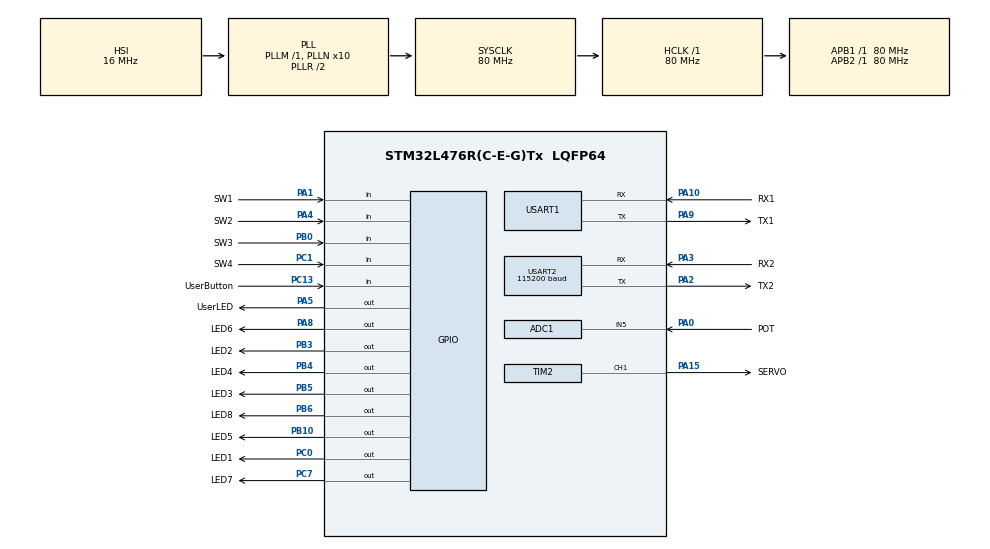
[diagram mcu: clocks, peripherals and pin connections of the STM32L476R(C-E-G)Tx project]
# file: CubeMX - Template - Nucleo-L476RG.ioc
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ADC1.Channel-0\#ChannelRegularConversion=ADC_CHANNEL_5
ADC1.NbrOfConversionFlag=1
ADC1.OffsetNumber-0\#ChannelRegularConversion=ADC_OFFSET_NONE
ADC1.Overrun=ADC_OVR_DATA_OVERWRITTEN
ADC1.Rank-0\#ChannelRegularConversion=1
ADC1.Resolution=ADC_RESOLUTION_12B
ADC1.SamplingTime-0\#ChannelRegularConversion=ADC_SAMPLETIME_2CYCLES_5
ADC1.master=1
FREERTOS.Events01=statemachineEvents,Dynamic,NULL
FREERTOS.Mutexes01=usart2TxMutex,Dynamic,NULL
FREERTOS.Queues01=adQueue,1,uint8_t,0,Dynamic,NULL,NULL;switchQueue,5,int8_t,0,Dynamic,NULL,NULL;mqttQueue,3,uint8_t,0,Dynamic,NULL,NULL
FREERTOS.Tasks01=watchdogTask,16,128,Watchdog,Default,NULL,Dynamic,NULL,NULL;esp32Task,24,1280,Esp32,Default,NULL,Dynamic,NULL,NULL;adConvTask,24,128,AdConversion,Default,NULL,Dynamic,NULL,NULL;stateMachineTas,24,1280,StateMachine,Default,NULL,Dynamic,NULL,NULL;switchesTask,24,128,Switches,Default,NULL,Dynamic,NULL,NULL
FREERTOS.Timers01=ledTimer,LedTimeOut,osTimerPeriodic,Default,NULL,Dynamic,NULL;gateMovingTimer,GateMovingTimeOut,osTimerOnce,Default,NULL,Dynamic,NULL
FREERTOS.configTOTAL_HEAP_SIZE=15000
IWDG.Prescaler=IWDG_PRESCALER_256
IWDG.Reload=999
Mcu.Family=STM32L4
Mcu.Name=STM32L476R(C-E-G)Tx
Mcu.Package=LQFP64
NVIC.PriorityGroup=NVIC_PRIORITYGROUP_4
NVIC.TIM6_DAC_IRQn=true\:15\:0\:false\:false\:true\:false\:false\:true\:true
NVIC.TimeBase=TIM6_DAC_IRQn
NVIC.TimeBaseIP=TIM6
NVIC.USART1_IRQn=true\:5\:0\:false\:false\:true\:true\:true\:true\:true
PA0.GPIO_Label=POT
PA0.Signal=ADCx_IN5
PA1.GPIO_Label=SW1
PA1.Signal=GPIO_Input
PA10.GPIO_Label=RX1
PA10.Mode=Asynchronous
PA10.Signal=USART1_RX
PA13\ (JTMS-SWDIO).GPIO_Label=TMS
PA13\ (JTMS-SWDIO).Mode=Serial_Wire
PA13\ (JTMS-SWDIO).Signal=SYS_JTMS-SWDIO
PA14\ (JTCK-SWCLK).GPIO_Label=TCK
PA14\ (JTCK-SWCLK).Mode=Serial_Wire
PA14\ (JTCK-SWCLK).Signal=SYS_JTCK-SWCLK
PA15\ (JTDI).GPIO_Label=SERVO
PA15\ (JTDI).Signal=S_TIM2_CH1
PA2.GPIO_Label=TX2
PA2.GPIO_Mode=GPIO_MODE_AF_PP
PA2.GPIO_PuPd=GPIO_NOPULL
PA2.GPIO_Speed=GPIO_SPEED_FREQ_VERY_HIGH
PA2.Mode=Asynchronous
PA2.Signal=USART2_TX
PA3.GPIO_Label=RX2
PA3.GPIO_Mode=GPIO_MODE_AF_PP
PA3.GPIO_PuPd=GPIO_NOPULL
PA3.GPIO_Speed=GPIO_SPEED_FREQ_VERY_HIGH
PA3.Mode=Asynchronous
PA3.Signal=USART2_RX
PA4.GPIO_Label=SW2
PA4.Signal=GPIO_Input
PA5.GPIO_Label=UserLED
PA5.GPIO_ModeDefaultOutputPP=GPIO_MODE_OUTPUT_PP
PA5.GPIO_PuPd=GPIO_NOPULL
PA5.GPIO_Speed=GPIO_SPEED_FREQ_LOW
PA5.Signal=GPIO_Output
PA8.GPIO_Label=LED6
PA8.Signal=GPIO_Output
PA9.GPIO_Label=TX1
PA9.Mode=Asynchronous
PA9.Signal=USART1_TX
PB0.GPIO_Label=SW3
PB0.Signal=GPIO_Input
PB10.GPIO_Label=LED5
PB10.Signal=GPIO_Output
PB3\ (JTDO-TRACESWO).GPIO_Label=LED2
PB3\ (JTDO-TRACESWO).Signal=GPIO_Output
PB4\ (NJTRST).GPIO_Label=LED4
PB4\ (NJTRST).Signal=GPIO_Output
PB5.GPIO_Label=LED3
PB5.Signal=GPIO_Output
PB6.GPIO_Label=LED8
PB6.Signal=GPIO_Output
PC0.GPIO_Label=LED1
PC0.Signal=GPIO_Output
PC1.GPIO_Label=SW4
PC1.Signal=GPIO_Input
PC13.GPIO_Label=UserButton
PC13.Signal=GPIO_Input
PC7.GPIO_Label=LED7
PC7.Signal=GPIO_Output
ProjectManager.HeapSize=0x200
ProjectManager.StackSize=0x400
ProjectManager.TargetToolchain=Makefile
RCC.ADCFreq_Value=64000000
RCC.AHBFreq_Value=80000000
RCC.APB1Freq_Value=80000000
RCC.APB1TimFreq_Value=80000000
RCC.APB2Freq_Value=80000000
RCC.APB2TimFreq_Value=80000000
RCC.CortexFreq_Value=80000000
RCC.HCLKFreq_Value=80000000
RCC.HSE_VALUE=8000000
RCC.HSI_VALUE=16000000
RCC.LSE_VALUE=32768
RCC.MSI_VALUE=4000000
RCC.PLLN=10
RCC.PLLSourceVirtual=RCC_PLLSOURCE_HSI
RCC.PREFETCH_ENABLE=1
RCC.SYSCLKFreq_VALUE=80000000
RCC.SYSCLKSource=RCC_SYSCLKSOURCE_PLLCLK
RCC.USBFreq_Value=64000000
RCC.VCOOutputFreq_Value=160000000
SH.ADCx_IN5.0=ADC1_IN5,IN5-Single-Ended
SH.S_TIM2_CH1.0=TIM2_CH1,PWM Generation1 CH1
TIM2.Channel-PWM\ Generation1\ CH1=TIM_CHANNEL_1
TIM2.Period=19999
TIM2.Prescaler=79
USART1.OverrunDisableParam=ADVFEATURE_OVERRUN_DISABLE
USART1.VirtualMode-Asynchronous=VM_ASYNC
USART2.BaudRate=115200
USART2.OverrunDisableParam=ADVFEATURE_OVERRUN_DISABLE
USART2.VirtualMode-Asynchronous=VM_ASYNC
VP_FREERTOS_VS_CMSIS_V2.Mode=CMSIS_V2
VP_IWDG_VS_IWDG.Mode=IWDG_Activate
VP_SYS_VS_tim6.Mode=TIM6
board=NUCLEO-L476RG

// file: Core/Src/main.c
/* USER CODE BEGIN Header */
/**
  ******************************************************************************
  * @file           : main.c
  * @brief          : Main program body
  ******************************************************************************
  * @attention
  *
  * Copyright (c) 2023 STMicroelectronics.
  * All rights reserved.
  *
  * This software is licensed under terms that can be found in the LICENSE file
  * in the root directory of this software component.
  * If no LICENSE file comes with this software, it is provided AS-IS.
  *
  ******************************************************************************
  */
	// Versie: 20252026
/* USER CODE END Header */
#include "main.h"
#include "cmsis_os.h"

/* USER CODE BEGIN Includes */
#include "stdlib.h"
#include "string.h"
#include "leds.h"
#include "buttons.h"
#include "usart1.h"
#include "usart2.h"
#include "ad.h"
#include "stdio.h"
#include "circularBuffer.h"
#include "esp32c3.h"
#include "wifi.h"
/* USER CODE END Includes */

/* USER CODE BEGIN PD */
#define PWM_OFFSET 1000
/* USER CODE END PD */

ADC_HandleTypeDef hadc1;

IWDG_HandleTypeDef hiwdg;

TIM_HandleTypeDef htim2;

UART_HandleTypeDef huart1;
UART_HandleTypeDef huart2;

/* Definitions for watchdogTask */
osThreadId_t watchdogTaskHandle;
const osThreadAttr_t watchdogTask_attributes = {
  .name = "watchdogTask",
  .stack_size = 128 * 4,
  .priority = (osPriority_t) osPriorityBelowNormal,
};
/* Definitions for esp32Task */
osThreadId_t esp32TaskHandle;
const osThreadAttr_t esp32Task_attributes = {
  .name = "esp32Task",
  .stack_size = 1280 * 4,
  .priority = (osPriority_t) osPriorityNormal,
};
/* Definitions for adConvTask */
osThreadId_t adConvTaskHandle;
const osThreadAttr_t adConvTask_attributes = {
  .name = "adConvTask",
  .stack_size = 128 * 4,
  .priority = (osPriority_t) osPriorityNormal,
};
/* Definitions for stateMachineTas */
osThreadId_t stateMachineTasHandle;
const osThreadAttr_t stateMachineTas_attributes = {
  .name = "stateMachineTas",
  .stack_size = 1280 * 4,
  .priority = (osPriority_t) osPriorityNormal,
};
/* Definitions for switchesTask */
osThreadId_t switchesTaskHandle;
const osThreadAttr_t switchesTask_attributes = {
  .name = "switchesTask",
  .stack_size = 128 * 4,
  .priority = (osPriority_t) osPriorityNormal,
};
/* Definitions for adQueue */
osMessageQueueId_t adQueueHandle;
const osMessageQueueAttr_t adQueue_attributes = {
  .name = "adQueue"
};
/* Definitions for switchQueue */
osMessageQueueId_t switchQueueHandle;
const osMessageQueueAttr_t switchQueue_attributes = {
  .name = "switchQueue"
};
/* Definitions for mqttQueue */
osMessageQueueId_t mqttQueueHandle;
const osMessageQueueAttr_t mqttQueue_attributes = {
  .name = "mqttQueue"
};
/* Definitions for ledTimer */
osTimerId_t ledTimerHandle;
const osTimerAttr_t ledTimer_attributes = {
  .name = "ledTimer"
};
/* Definitions for gateMovingTimer */
osTimerId_t gateMovingTimerHandle;
const osTimerAttr_t gateMovingTimer_attributes = {
  .name = "gateMovingTimer"
};
/* Definitions for usart2TxMutex */
osMutexId_t usart2TxMutexHandle;
const osMutexAttr_t usart2TxMutex_attributes = {
  .name = "usart2TxMutex"
};
/* Definitions for statemachineEvents */
osEventFlagsId_t statemachineEventsHandle;
const osEventFlagsAttr_t statemachineEvents_attributes = {
  .name = "statemachineEvents"
};
/* USER CODE BEGIN PV */
static uint8_t index = 0;
static volatile uint32_t ticks = 0;
volatile bool timerTicked = false;
static char text[CHAR_ARRAY_BUFFER_LENGTH];
static char receivedText[CHAR_ARRAY_BUFFER_LENGTH];
static volatile enum UsartState usart1State =	idle;

// Verwijzing maken naar een circulair buffer dat alle binnenkomende data van de ESP-module opslaat.
extern volatile CircularBuffer circularBuffer;
extern enum CircularBufferActionResult circularBufferActionResult;
static volatile uint8_t receivedUsart1Data = 0;
enum States {error, closed, firstOk, secondOk, thirdOk, openingLedOn, openingLedOff,
								open, closingLedOn, closingLedOff};
/* USER CODE END PV */

void SystemClock_Config(void);
static void MX_GPIO_Init(void);
static void MX_ADC1_Init(void);
static void MX_USART2_UART_Init(void);
static void MX_USART1_UART_Init(void);
static void MX_IWDG_Init(void);
static void MX_TIM2_Init(void);
void Watchdog(void *argument);
void Esp32(void *argument);
void AdConversion(void *argument);
void StateMachine(void *argument);
void Switches(void *argument);
void LedTimeOut(void *argument);
void GateMovingTimeOut(void *argument);

int main(void)
{

  /* MCU Configuration--------------------------------------------------------*/

  /* Reset of all peripherals, Initializes the Flash interface and the Systick. */
  HAL_Init();

  /* Configure the system clock */
  SystemClock_Config();

  /* Initialize all configured peripherals */
  MX_GPIO_Init();
  MX_ADC1_Init();
  MX_USART2_UART_Init();
  MX_USART1_UART_Init();
  MX_IWDG_Init();
  MX_TIM2_Init();
  /* USER CODE BEGIN 2 */
	// OPM: gebruikte WiFi-module = ESP01-C3 (https://www.lilygo.cc/products/t-01c3
	// of https://www.tinytronics.nl/shop/nl/communicatie-en-signalen/draadloos/wi-fi/modules/lilygo-t-01c3-esp32-wi-fi-en-bluetooth-le-module).

	// Laten weten dat we opgestart zijn, via de USART2 (USB).
	printf("Reboot\r\n");

  /* USER CODE END 2 */

  /* Init scheduler */
  osKernelInitialize();
  /* Create the mutex(es) */
  /* creation of usart2TxMutex */
  usart2TxMutexHandle = osMutexNew(&usart2TxMutex_attributes);

  /* Create the timer(s) */
  /* creation of ledTimer */
  ledTimerHandle = osTimerNew(LedTimeOut, osTimerPeriodic, NULL, &ledTimer_attributes);

  /* creation of gateMovingTimer */
  gateMovingTimerHandle = osTimerNew(GateMovingTimeOut, osTimerOnce, NULL, &gateMovingTimer_attributes);

  /* Create the queue(s) */
  /* creation of adQueue */
  adQueueHandle = osMessageQueueNew (1, sizeof(uint8_t), &adQueue_attributes);

  /* creation of switchQueue */
  switchQueueHandle = osMessageQueueNew (5, sizeof(int8_t), &switchQueue_attributes);

  /* creation of mqttQueue */
  mqttQueueHandle = osMessageQueueNew (3, sizeof(uint8_t), &mqttQueue_attributes);

  /* Create the thread(s) */
  /* creation of watchdogTask */
  watchdogTaskHandle = osThreadNew(Watchdog, NULL, &watchdogTask_attributes);

  /* creation of esp32Task */
  esp32TaskHandle = osThreadNew(Esp32, NULL, &esp32Task_attributes);

  /* creation of adConvTask */
  adConvTaskHandle = osThreadNew(AdConversion, NULL, &adConvTask_attributes);

  /* creation of stateMachineTas */
  stateMachineTasHandle = osThreadNew(StateMachine, NULL, &stateMachineTas_attributes);

  /* creation of switchesTask */
  switchesTaskHandle = osThreadNew(Switches, NULL, &switchesTask_attributes);

  /* creation of statemachineEvents */
  statemachineEventsHandle = osEventFlagsNew(&statemachineEvents_attributes);

  /* Start scheduler */
  osKernelStart();

  /* We should never get here as control is now taken by the scheduler */

  /* Infinite loop */
  while (1)
  {

  }
}

void SystemClock_Config(void)
{
  RCC_OscInitTypeDef RCC_OscInitStruct = {0};
  RCC_ClkInitTypeDef RCC_ClkInitStruct = {0};

  /** Configure the main internal regulator output voltage
  */
  if (HAL_PWREx_ControlVoltageScaling(PWR_REGULATOR_VOLTAGE_SCALE1) != HAL_OK)
  {
    Error_Handler();
  }

  /** Initializes the RCC Oscillators according to the specified parameters
  * in the RCC_OscInitTypeDef structure.
  */
  RCC_OscInitStruct.OscillatorType = RCC_OSCILLATORTYPE_HSI|RCC_OSCILLATORTYPE_LSI;
  RCC_OscInitStruct.HSIState = RCC_HSI_ON;
  RCC_OscInitStruct.HSICalibrationValue = RCC_HSICALIBRATION_DEFAULT;
  RCC_OscInitStruct.LSIState = RCC_LSI_ON;
  RCC_OscInitStruct.PLL.PLLState = RCC_PLL_ON;
  RCC_OscInitStruct.PLL.PLLSource = RCC_PLLSOURCE_HSI;
  RCC_OscInitStruct.PLL.PLLM = 1;
  RCC_OscInitStruct.PLL.PLLN = 10;
  RCC_OscInitStruct.PLL.PLLP = RCC_PLLP_DIV7;
  RCC_OscInitStruct.PLL.PLLQ = RCC_PLLQ_DIV2;
  RCC_OscInitStruct.PLL.PLLR = RCC_PLLR_DIV2;
  if (HAL_RCC_OscConfig(&RCC_OscInitStruct) != HAL_OK)
  {
    Error_Handler();
  }

  /** Initializes the CPU, AHB and APB buses clocks
  */
  RCC_ClkInitStruct.ClockType = RCC_CLOCKTYPE_HCLK|RCC_CLOCKTYPE_SYSCLK
                              |RCC_CLOCKTYPE_PCLK1|RCC_CLOCKTYPE_PCLK2;
  RCC_ClkInitStruct.SYSCLKSource = RCC_SYSCLKSOURCE_PLLCLK;
  RCC_ClkInitStruct.AHBCLKDivider = RCC_SYSCLK_DIV1;
  RCC_ClkInitStruct.APB1CLKDivider = RCC_HCLK_DIV1;
  RCC_ClkInitStruct.APB2CLKDivider = RCC_HCLK_DIV1;

  if (HAL_RCC_ClockConfig(&RCC_ClkInitStruct, FLASH_LATENCY_4) != HAL_OK)
  {
    Error_Handler();
  }
}

static void MX_ADC1_Init(void)
{

  ADC_MultiModeTypeDef multimode = {0};
  ADC_ChannelConfTypeDef sConfig = {0};

  /** Common config
  */
  hadc1.Instance = ADC1;
  hadc1.Init.ClockPrescaler = ADC_CLOCK_ASYNC_DIV1;
  hadc1.Init.Resolution = ADC_RESOLUTION_12B;
  hadc1.Init.DataAlign = ADC_DATAALIGN_RIGHT;
  hadc1.Init.ScanConvMode = ADC_SCAN_DISABLE;
  hadc1.Init.EOCSelection = ADC_EOC_SINGLE_CONV;
  hadc1.Init.LowPowerAutoWait = DISABLE;
  hadc1.Init.ContinuousConvMode = DISABLE;
  hadc1.Init.NbrOfConversion = 1;
  hadc1.Init.DiscontinuousConvMode = DISABLE;
  hadc1.Init.ExternalTrigConv = ADC_SOFTWARE_START;
  hadc1.Init.ExternalTrigConvEdge = ADC_EXTERNALTRIGCONVEDGE_NONE;
  hadc1.Init.DMAContinuousRequests = DISABLE;
  hadc1.Init.Overrun = ADC_OVR_DATA_OVERWRITTEN;
  hadc1.Init.OversamplingMode = DISABLE;
  if (HAL_ADC_Init(&hadc1) != HAL_OK)
  {
    Error_Handler();
  }

  /** Configure the ADC multi-mode
  */
  multimode.Mode = ADC_MODE_INDEPENDENT;
  if (HAL_ADCEx_MultiModeConfigChannel(&hadc1, &multimode) != HAL_OK)
  {
    Error_Handler();
  }

  /** Configure Regular Channel
  */
  sConfig.Channel = ADC_CHANNEL_5;
  sConfig.Rank = ADC_REGULAR_RANK_1;
  sConfig.SamplingTime = ADC_SAMPLETIME_2CYCLES_5;
  sConfig.SingleDiff = ADC_SINGLE_ENDED;
  sConfig.OffsetNumber = ADC_OFFSET_NONE;
  sConfig.Offset = 0;
  if (HAL_ADC_ConfigChannel(&hadc1, &sConfig) != HAL_OK)
  {
    Error_Handler();
  }

}

static void MX_IWDG_Init(void)
{

  hiwdg.Instance = IWDG;
  hiwdg.Init.Prescaler = IWDG_PRESCALER_256;
  hiwdg.Init.Window = 4095;
  hiwdg.Init.Reload = 999;
  if (HAL_IWDG_Init(&hiwdg) != HAL_OK)
  {
    Error_Handler();
  }

}

static void MX_TIM2_Init(void)
{

  TIM_MasterConfigTypeDef sMasterConfig = {0};
  TIM_OC_InitTypeDef sConfigOC = {0};

  htim2.Instance = TIM2;
  htim2.Init.Prescaler = 79;
  htim2.Init.CounterMode = TIM_COUNTERMODE_UP;
  htim2.Init.Period = 19999;
  htim2.Init.ClockDivision = TIM_CLOCKDIVISION_DIV1;
  htim2.Init.AutoReloadPreload = TIM_AUTORELOAD_PRELOAD_DISABLE;
  if (HAL_TIM_PWM_Init(&htim2) != HAL_OK)
  {
    Error_Handler();
  }
  sMasterConfig.MasterOutputTrigger = TIM_TRGO_RESET;
  sMasterConfig.MasterSlaveMode = TIM_MASTERSLAVEMODE_DISABLE;
  if (HAL_TIMEx_MasterConfigSynchronization(&htim2, &sMasterConfig) != HAL_OK)
  {
    Error_Handler();
  }
  sConfigOC.OCMode = TIM_OCMODE_PWM1;
  sConfigOC.Pulse = 0;
  sConfigOC.OCPolarity = TIM_OCPOLARITY_HIGH;
  sConfigOC.OCFastMode = TIM_OCFAST_DISABLE;
  if (HAL_TIM_PWM_ConfigChannel(&htim2, &sConfigOC, TIM_CHANNEL_1) != HAL_OK)
  {
    Error_Handler();
  }
  HAL_TIM_MspPostInit(&htim2);

}

static void MX_USART1_UART_Init(void)
{

  huart1.Instance = USART1;
  huart1.Init.BaudRate = 115200;
  huart1.Init.WordLength = UART_WORDLENGTH_8B;
  huart1.Init.StopBits = UART_STOPBITS_1;
  huart1.Init.Parity = UART_PARITY_NONE;
  huart1.Init.Mode = UART_MODE_TX_RX;
  huart1.Init.HwFlowCtl = UART_HWCONTROL_NONE;
  huart1.Init.OverSampling = UART_OVERSAMPLING_16;
  huart1.Init.OneBitSampling = UART_ONE_BIT_SAMPLE_DISABLE;
  huart1.AdvancedInit.AdvFeatureInit = UART_ADVFEATURE_RXOVERRUNDISABLE_INIT;
  huart1.AdvancedInit.OverrunDisable = UART_ADVFEATURE_OVERRUN_DISABLE;
  if (HAL_UART_Init(&huart1) != HAL_OK)
  {
    Error_Handler();
  }

}

static void MX_USART2_UART_Init(void)
{

  huart2.Instance = USART2;
  huart2.Init.BaudRate = 115200;
  huart2.Init.WordLength = UART_WORDLENGTH_8B;
  huart2.Init.StopBits = UART_STOPBITS_1;
  huart2.Init.Parity = UART_PARITY_NONE;
  huart2.Init.Mode = UART_MODE_TX_RX;
  huart2.Init.HwFlowCtl = UART_HWCONTROL_NONE;
  huart2.Init.OverSampling = UART_OVERSAMPLING_16;
  huart2.Init.OneBitSampling = UART_ONE_BIT_SAMPLE_DISABLE;
  huart2.AdvancedInit.AdvFeatureInit = UART_ADVFEATURE_RXOVERRUNDISABLE_INIT;
  huart2.AdvancedInit.OverrunDisable = UART_ADVFEATURE_OVERRUN_DISABLE;
  if (HAL_UART_Init(&huart2) != HAL_OK)
  {
    Error_Handler();
  }

}

static void MX_GPIO_Init(void)
{
  GPIO_InitTypeDef GPIO_InitStruct = {0};

  /* GPIO Ports Clock Enable */
  __HAL_RCC_GPIOC_CLK_ENABLE();
  __HAL_RCC_GPIOA_CLK_ENABLE();
  __HAL_RCC_GPIOB_CLK_ENABLE();

  /*Configure GPIO pin Output Level */
  HAL_GPIO_WritePin(GPIOC, LED1_Pin|LED7_Pin, GPIO_PIN_RESET);

  /*Configure GPIO pin Output Level */
  HAL_GPIO_WritePin(GPIOA, UserLED_Pin|LED6_Pin, GPIO_PIN_RESET);

  /*Configure GPIO pin Output Level */
  HAL_GPIO_WritePin(GPIOB, LED5_Pin|LED2_Pin|LED4_Pin|LED3_Pin
                          |LED8_Pin, GPIO_PIN_RESET);

  /*Configure GPIO pins : UserButton_Pin SW4_Pin */
  GPIO_InitStruct.Pin = UserButton_Pin|SW4_Pin;
  GPIO_InitStruct.Mode = GPIO_MODE_INPUT;
  GPIO_InitStruct.Pull = GPIO_NOPULL;
  HAL_GPIO_Init(GPIOC, &GPIO_InitStruct);

  /*Configure GPIO pins : LED1_Pin LED7_Pin */
  GPIO_InitStruct.Pin = LED1_Pin|LED7_Pin;
  GPIO_InitStruct.Mode = GPIO_MODE_OUTPUT_PP;
  GPIO_InitStruct.Pull = GPIO_NOPULL;
  GPIO_InitStruct.Speed = GPIO_SPEED_FREQ_LOW;
  HAL_GPIO_Init(GPIOC, &GPIO_InitStruct);

  /*Configure GPIO pins : SW1_Pin SW2_Pin */
  GPIO_InitStruct.Pin = SW1_Pin|SW2_Pin;
  GPIO_InitStruct.Mode = GPIO_MODE_INPUT;
  GPIO_InitStruct.Pull = GPIO_NOPULL;
  HAL_GPIO_Init(GPIOA, &GPIO_InitStruct);

  /*Configure GPIO pins : UserLED_Pin LED6_Pin */
  GPIO_InitStruct.Pin = UserLED_Pin|LED6_Pin;
  GPIO_InitStruct.Mode = GPIO_MODE_OUTPUT_PP;
  GPIO_InitStruct.Pull = GPIO_NOPULL;
  GPIO_InitStruct.Speed = GPIO_SPEED_FREQ_LOW;
  HAL_GPIO_Init(GPIOA, &GPIO_InitStruct);

  /*Configure GPIO pin : SW3_Pin */
  GPIO_InitStruct.Pin = SW3_Pin;
  GPIO_InitStruct.Mode = GPIO_MODE_INPUT;
  GPIO_InitStruct.Pull = GPIO_NOPULL;
  HAL_GPIO_Init(SW3_GPIO_Port, &GPIO_InitStruct);

  /*Configure GPIO pins : LED5_Pin LED2_Pin LED4_Pin LED3_Pin
                           LED8_Pin */
  GPIO_InitStruct.Pin = LED5_Pin|LED2_Pin|LED4_Pin|LED3_Pin
                          |LED8_Pin;
  GPIO_InitStruct.Mode = GPIO_MODE_OUTPUT_PP;
  GPIO_InitStruct.Pull = GPIO_NOPULL;
  GPIO_InitStruct.Speed = GPIO_SPEED_FREQ_LOW;
  HAL_GPIO_Init(GPIOB, &GPIO_InitStruct);

}

/* USER CODE BEGIN 4 */
// Code hieronder wordt opgeroepen als alle data van HAL_UART_Receive_IT(() ontvangen is...
// Deze functie wordt opgeroepen vanuit HAL_UART_IRQHandler().
// De data is afkomstig van de ESP01-C3-module.
// Alle data wordt opgeslaan in de globale variabele 'circularBuffer', die gedefinieerd is in circularBuffer.c.
void HAL_UART_RxCpltCallback(UART_HandleTypeDef *UartHandle)
{
	// Is het data van UART1?
	if(UartHandle->Instance == USART1)
	{
		// Byte versturen op USART2 (USB) zodat je ook op de computer kan meevolgen. Dit is niet verplicht, maar vergemakkelijkt het debuggen.
		// Let op: zorg voor een timeout van 0, anders kan de code hier te traag verlopen en problemen bezorgen op UART1.
		osMutexAcquire(usart2TxMutexHandle, osWaitForever);
		HAL_UART_Transmit(&huart2, (uint8_t *)&receivedUsart1Data, 1, 0);
		osMutexRelease(usart2TxMutexHandle);
//		// Indien timing problemen, zou onderstaande kunnen helpen...
//		huart2.Instance->TDR = (uint8_t)receivedUsart1Data;

		// Ontvangen data opslaan in een circulair buffer.
		// Het circulair buffer zorgt ervoor dat er geen bytes misgelopen raken.
		// Je kan daarna in de hoofdlus 'rustig aan' alle ontvangen data gaan verwerken...
		if(usart1State == busyReceiving)
		{
			// Is er nog plaats in het buffer?
			if(!IsCircularBufferFull(&circularBuffer))
			{
				// Karakter opslaan.
				PushCharToCircularBuffer(&circularBuffer, receivedUsart1Data);

				// Nieuwe lijn ontvangen. Geef aan dat je klaar bent voor een volgende lijn...
				if(receivedUsart1Data == '\n')
						usart1State = idle;
			}
		}
		else
		{
			// Start van de ontvangst/lijn.
			if(usart1State == idle)
			{
				// Is er nog plaats in het buffer?
				if(!IsCircularBufferFull(&circularBuffer))
				{
					// Buffer nog niet vol. Begin met opslaan in de circulaire buffer.
					usart1State = busyReceiving;

					// Karakter opslaan.
					PushCharToCircularBuffer(&circularBuffer, receivedUsart1Data);

					// Nieuwe lijn ontvangen. Geef aan dat je klaar bent voor een volgende lijn...
					if(receivedUsart1Data == '\n')
						usart1State = idle;
					else
					{
						// Na het versturen van het 'AT+CIPSEND'- of een 'MQTTPUBRAW'-command, moet er gewacht worden op het '>'-karakter. Detecteer
						// de ontvangst van dat karakter hier. Voeg automatisch een "\r\n" toe om zo geforceerd een nieuwe lijn in het circulair buffer
						// aan te maken. Hierdoor kan de data uit dat buffer, gemakkelijker verwerkt worden.
						if(receivedUsart1Data == '>')
						{
							// Geforceerd extra lijn opslaan met ">\r\n".
							PushCharToCircularBuffer(&circularBuffer, '\r');
							PushCharToCircularBuffer(&circularBuffer, '\n');

							usart1State = idle;
						}
					}
				}
			}
		}

		// Ontvangst via interrupts opnieuw starten. Want RXNEIE wordt automatisch uitgeschakeld.
		HAL_UART_Receive_IT(&huart1, (uint8_t*)&receivedUsart1Data, 1);
	}
}
/* USER CODE END 4 */

void Watchdog(void *argument)
{
  /* USER CODE BEGIN 5 */
  /* Infinite loop */
  for(;;)
  {
		// Watchdog timer resetten. Dit zorgt voor een herstart als ��n van de threads met hogere
		// prioriteit iets meer dan 8 seconden geblokkeerd is.
		HAL_IWDG_Refresh(&hiwdg);

		// LED laten knipperen als visueel teken van het doorlopen van deze thread.
		ToggleLed(1);

		// Even wachten.
    osDelay(1000);
  }
  /* USER CODE END 5 */
}

void Esp32(void *argument)
{
  /* USER CODE BEGIN Esp32 */

	osStatus_t osStatus;
	enum States state;

	// Let op: deze tread heeft een vrij grote 'Stack Size' nodig om correct te kunnen werken. Bijvoorbeeld 1280...
	//				 Stel dat in via STM32CubeMX.

	// Circulaire buffer initialiseren.
	if(InitCircularBuffer(&circularBuffer) != initSucceeded)
		printf("Initialization of CircularBuffer failed!\r\n");

	// WiFi-module tijd geven om op te starten.
	osDelay(1000);

	// Ontvangst van ��n byte via interrupts starten (voor de ESP32-module).
	HAL_UART_Receive_IT(&huart1, (uint8_t*)&receivedUsart1Data, 1);

	// WiFi-module in AT-mode zetten.
	StringToUsart1("AT\r\n");
	while(!LookForString1(&circularBuffer, "OK\r\n"));

	// Tussendoor de Watchdog timer resetten.
	HAL_IWDG_Refresh(&hiwdg);

	// WiFi-module resetten.
	StringToUsart1("AT+RST\r\n");
	while(!LookForString1(&circularBuffer, "ready\r\n"));

	// Tussendoor de Watchdog timer resetten.
	HAL_IWDG_Refresh(&hiwdg);

	// Huidige AT-firmware versie opvragen (optioneel).
	StringToUsart1("AT+GMR\r\n");
	while(!LookForString1(&circularBuffer, "OK\r\n"));

	// Tussendoor de Watchdog timer resetten.
	HAL_IWDG_Refresh(&hiwdg);

	// MAC-adres opvragen (optioneel).
	StringToUsart1("AT+CIPSTAMAC?\r\n");
	while(!LookForString1(&circularBuffer, "OK\r\n"));

	// Tussendoor de Watchdog timer resetten.
	HAL_IWDG_Refresh(&hiwdg);

	// Verbinding maken met het WiFi-netwerk (zie wifi.h).
	ConnectToWiFiNetwork(WIFI_SSID, WIFI_PWD);

	// Tussendoor de Watchdog timer resetten.
	HAL_IWDG_Refresh(&hiwdg);

	// Verbinding maken met de MQTT-broker (enkel indien MQTT van toepassing is).
	ConnectToMqttBroker(MQTT_BROKER_ADDRESS, MQTT_PORT, MQTT_USER, MQTT_PWD, MQTT_CLIENT_ID);

	// Tussendoor de Watchdog timer resetten.
	HAL_IWDG_Refresh(&hiwdg);

	// Abonneren op een MQTT-topic.
	SubscribeToMqttTopic(MQTT_SUB_TOPIC);

	// Tussendoor de Watchdog timer resetten.
	HAL_IWDG_Refresh(&hiwdg);

  /* Infinite loop */
  for(;;)
  {
		// Is er een nieuwe state opgehaald?
		osStatus = osMessageQueueGet(mqttQueueHandle, &state, NULL, 1);
		if(osStatus == osOK)
		{
			if(state == open)
			{
				// MQTT-bericht publish'n.
				MqttPublish(MQTT_PUB_TOPIC, "{\"state\":\"open\"}");
			}

			if(state == closed)
			{
				// MQTT-bericht publish'n.
				MqttPublish(MQTT_PUB_TOPIC, "{\"state\":\"closed\"}");
			}
		}

		// Mogelijks ontvangen TCP-, HTTP-, HTTPS-, of MQTT-berichten zoeken in het circulair buffer.
		// De berichten zijn van de vorm: +IPD, of +MQTTSUBRECV:0,"rubu/esp8266",3,254.
		while(circularBuffer.numberOfStringsInBuffer > 0)
		{
			// E�n string ophalen.
			circularBufferActionResult = PopStringFromCircularBuffer(&circularBuffer, receivedText);
			if(circularBufferActionResult == readStringSucceeded)
			{
				// MQTT-ontvangst onderzoeken. Zoek achter "+MQTTSUBRECV:0,"het huidige topic",". Dat geeft het begin aan van de ontvangen MQTT-data.
				sprintf(text, "+MQTTSUBRECV:0,\"%s\",", MQTT_SUB_TOPIC);
				index = strlen(text);																	// Opzoeken hoe lang dat gedeelte van de string is.

				// Begin van de lijn vergelijken met de verwachte tekst en topic.
				if(strncmp(text, receivedText, index) == 0)
				{
//					// Melden aan de gebruiker (optioneel).
//					osMutexAcquire(usart2TxMutexHandle, osWaitForever);
//					printf("New MQTT-data received: ");
//					printf("%s\r\n\r\n", receivedText);
//					osMutexRelease(usart2TxMutexHandle);

//					// Het aantal ontvangen bytes opzoeken.
//					numberOfReceivedBytes = (uint8_t)atoi(&receivedText[index]);
//					printf("numberOfReceivedBytes: %d.\r\n", numberOfReceivedBytes);

					//...

					// OPM: indien je UART2 wil gebruiken, vraag eerst de Mutex aan.
					//		osMutexAcquire(usart2TxMutexHandle, osWaitForever);
					//		printf("...");
					//		osMutexRelease(usart2TxMutexHandle);
				}
			}
		}

		// LED laten knipperen als visueel teken van het doorlopen van deze thread.
		ToggleLed(2);

		// Even wachten.
		osDelay(20);
  }
  /* USER CODE END Esp32 */
}

void AdConversion(void *argument)
{
  /* USER CODE BEGIN AdConversion */
	uint16_t adValue = 0;

  /* Infinite loop */
  for(;;)
  {
		// AD-waarde inlezen.
		adValue = (uint8_t)(GetAdValue(&hadc1) >> 4);

		// Gemeten AD-waarde in een queue zetten. Als dat niet lukt (omdat die vol zit bijvoorbeeld), wacht dan maximum 10ms.
		osMessageQueuePut(adQueueHandle, &adValue, NULL, 10);

		// LED laten knipperen als visueel teken van het doorlopen van deze thread.
		ToggleLed(3);

		// Even wachten.
    osDelay(100);
  }
  /* USER CODE END AdConversion */
}

void StateMachine(void *argument)
{
  /* USER CODE BEGIN StateMachine */
	uint8_t sw;
	uint8_t adValue;
	uint16_t movingTime;
	osStatus_t osStatus;
	enum States currentState, nextState;

	currentState = nextState = closed;

	// Timer starten voor de LED die de beweging van de poort toont.
	osTimerStart(ledTimerHandle, 250);

	// PWM-waarde klaarzetten in het CCR2-register.
	// Via een macro... (met daarin verschillende geneste 'conditional operators').
	// Macro = 'to access peripheral registers hardware'.
	__HAL_TIM_SET_COMPARE(&htim2, TIM_CHANNEL_1, PWM_OFFSET + 500);

	// PWM starten.
	HAL_TIM_PWM_Start(&htim2, TIM_CHANNEL_1);

  /* Infinite loop */
  for(;;)
  {
		// Let op: voorzie een grote stack size voor deze thread.

		// Is er een nieuwe AD-omzetting binnengekomen? Gebruik die om de tijd waarin
		// de poort opent/sluit, aan te passen.
		osStatus = osMessageQueueGet(adQueueHandle, &adValue, NULL, 1);
		if(osStatus == osOK)
		{
			// Tijd waarin de poort beweegt, deels instelbaar maken.
			movingTime = 1000 + adValue * 20;
		}
		// Minstens ��n seconde openen/sluiten.
		if(movingTime < 1000)
			movingTime = 1000;

		// Is er nieuwe keypad/switch data binnengekomen?
		sw = 0;
		osStatus = osMessageQueueGet(switchQueueHandle, &sw, NULL, 1);

		// Is er data opgehaald?
		if(osStatus == osOK)
		{
			osMutexAcquire(usart2TxMutexHandle, osWaitForever);
			printf("Key pressed: %d.\r\n", sw);
			osMutexRelease(usart2TxMutexHandle);
		}

		// Om de poort te openen, druk achtereenvolgens op SW1, SW2, SW3 en SW4. Dit zou
		// uiteraard nog aangepast kunnen worden zodat je met een echt keypad werkt en een instelbare
		// PIN-code.

		// State machine verwerken.
		switch(currentState)
		{
			case closed:
				// LED8 doven.
				HAL_GPIO_WritePin(LED8_GPIO_Port, LED8_Pin, GPIO_PIN_RESET);

				// Servo (op PA15) stoppen.
				__HAL_TIM_SET_COMPARE(&htim2, TIM_CHANNEL_1, PWM_OFFSET + 500);

				if(sw == 1)
					nextState = firstOk;
				else
					if((sw == 2) || (sw == 3) || (sw == 4))
						nextState = closed;
				break;

			case firstOk:
				if(sw == 2)
					nextState = secondOk;
				else
					if((sw == 1) || (sw == 3) || (sw == 4))
						nextState = closed;
				break;

			case secondOk:
				if(sw == 3)
					nextState = thirdOk;
				else
					if((sw == 1) || (sw == 2) || (sw == 4))
						nextState = closed;
				break;

			case thirdOk:
				if(sw == 4)
				{
					nextState = openingLedOn;
					osTimerStart(gateMovingTimerHandle, movingTime);
				}
				else
					if((sw == 1) || (sw == 2) || (sw == 3))
						nextState = closed;
				break;

			case openingLedOn:
				// LED8 laten oplichten om aan te geven dat de poort in beweging is.
				HAL_GPIO_WritePin(LED8_GPIO_Port, LED8_Pin, GPIO_PIN_SET);

				// Servo (op PA15) naar links laten draaien.
				__HAL_TIM_SET_COMPARE(&htim2, TIM_CHANNEL_1, PWM_OFFSET + 1000);

				// Is de beweginstijd nog niet voorbij?
				if((osEventFlagsGet(statemachineEventsHandle) & GATE_MOVING_TIMER_TICKED_FLAG) == GATE_MOVING_TIMER_TICKED_FLAG)
				{
					osEventFlagsClear(statemachineEventsHandle, GATE_MOVING_TIMER_TICKED_FLAG);
					nextState = open;
				}
				else
					// Moet LED8 toggle'n?
					if((osEventFlagsGet(statemachineEventsHandle) & LED_TIMER_TICKED_FLAG) == LED_TIMER_TICKED_FLAG)
					{
						osEventFlagsClear(statemachineEventsHandle, LED_TIMER_TICKED_FLAG);
						nextState = openingLedOff;
					}
				break;

			case openingLedOff:
				// LED8 doven.
				HAL_GPIO_WritePin(LED8_GPIO_Port, LED8_Pin, GPIO_PIN_RESET);

				// Is de beweginstijd nog niet voorbij?
				if((osEventFlagsGet(statemachineEventsHandle) & GATE_MOVING_TIMER_TICKED_FLAG) == GATE_MOVING_TIMER_TICKED_FLAG)
				{
					osEventFlagsClear(statemachineEventsHandle, GATE_MOVING_TIMER_TICKED_FLAG);
					nextState = open;
				}
				else
					// Moet LED8 toggle'n?
					if((osEventFlagsGet(statemachineEventsHandle) & LED_TIMER_TICKED_FLAG) == LED_TIMER_TICKED_FLAG)
					{
						osEventFlagsClear(statemachineEventsHandle, LED_TIMER_TICKED_FLAG);
						nextState = openingLedOn;
					}
				break;

			case open:
				// LED8 doven.
				HAL_GPIO_WritePin(LED8_GPIO_Port, LED8_Pin, GPIO_PIN_RESET);

				// Servo (op PA15) stoppen.
				__HAL_TIM_SET_COMPARE(&htim2, TIM_CHANNEL_1, PWM_OFFSET + 500);

				if(UserButtonActive())
				{
					nextState = closingLedOn;
					osTimerStart(gateMovingTimerHandle, movingTime);
				}
				break;

			case closingLedOn:
				// LED8 laten oplichten om aan te geven dat de poort in beweging is.
				HAL_GPIO_WritePin(LED8_GPIO_Port, LED8_Pin, GPIO_PIN_SET);

				// Servo (op PA15) naar rechts laten draaien.
				__HAL_TIM_SET_COMPARE(&htim2, TIM_CHANNEL_1, PWM_OFFSET + 0);

				// Is de beweginstijd nog niet voorbij?
				if((osEventFlagsGet(statemachineEventsHandle) & GATE_MOVING_TIMER_TICKED_FLAG) == GATE_MOVING_TIMER_TICKED_FLAG)
				{
					osEventFlagsClear(statemachineEventsHandle, GATE_MOVING_TIMER_TICKED_FLAG);
					nextState = closed;
				}
				else
					// Moet LED8 toggle'n?
					if((osEventFlagsGet(statemachineEventsHandle) & LED_TIMER_TICKED_FLAG) == LED_TIMER_TICKED_FLAG)
					{
						osEventFlagsClear(statemachineEventsHandle, LED_TIMER_TICKED_FLAG);
						nextState = closingLedOff;
					}
				break;

			case closingLedOff:
				// LED8 doven.
				HAL_GPIO_WritePin(LED8_GPIO_Port, LED8_Pin, GPIO_PIN_RESET);

				// Is de beweginstijd nog niet voorbij?
				if((osEventFlagsGet(statemachineEventsHandle) & GATE_MOVING_TIMER_TICKED_FLAG) == GATE_MOVING_TIMER_TICKED_FLAG)
				{
					osEventFlagsClear(statemachineEventsHandle, GATE_MOVING_TIMER_TICKED_FLAG);
					nextState = closed;
				}
				else
					// Moet LED8 toggle'n?
					if((osEventFlagsGet(statemachineEventsHandle) & LED_TIMER_TICKED_FLAG) == LED_TIMER_TICKED_FLAG)
					{
						osEventFlagsClear(statemachineEventsHandle, LED_TIMER_TICKED_FLAG);
						nextState = closingLedOn;
					}
				break;

			default:
				nextState = error;
				break;
		}

		// Nieuwe state opslaan en melden.
		if(currentState != nextState)
		{
			currentState = nextState;

			osMutexAcquire(usart2TxMutexHandle, osWaitForever);
			printf("New state: %d.\r\n", currentState);
			osMutexRelease(usart2TxMutexHandle);

			// Het open en gesloten zijn, melden via MQTT.
			if((currentState == open) || (currentState == closed))
				osMessageQueuePut(mqttQueueHandle, &currentState, NULL, 10);
		}

		// LED laten knipperen als visueel teken van het doorlopen van deze thread.
		ToggleLed(4);

		// Even wachten.
    osDelay(50);
  }
  /* USER CODE END StateMachine */
}

void Switches(void *argument)
{
  /* USER CODE BEGIN Switches */
	bool sw1Help = false, sw2Help = false, sw3Help = false, sw4Help = false;
	uint8_t sw;

  /* Infinite loop */
  for(;;)
  {
    // Flankdetectie SW1.
		if(SW1Active() && sw1Help == false)
		{
			sw1Help = true;

			// Indrukken van de knop melden via een queue.
			sw = 1;
			osMessageQueuePut(switchQueueHandle, &sw, NULL, 100);
		}
		if(!SW1Active())
			sw1Help = false;

		// Flankdetectie SW2.
		if(SW2Active() && sw2Help == false)
		{
			sw2Help = true;

			// Indrukken van de knop melden via een queue.
			sw = 2;
			osMessageQueuePut(switchQueueHandle, &sw, NULL, 100);
		}
		if(!SW2Active())
			sw2Help = false;

		// Flankdetectie SW3.
		if(SW3Active() && sw3Help == false)
		{
			sw3Help = true;

			// Indrukken van de knop melden via een queue.
			sw = 3;
			osMessageQueuePut(switchQueueHandle, &sw, NULL, 100);
		}
		if(!SW3Active())
			sw3Help = false;

		// Flankdetectie SW4.
		if(SW4Active() && sw4Help == false)
		{
			sw4Help = true;

			// Indrukken van de knop melden via een queue.
			sw = 4;
			osMessageQueuePut(switchQueueHandle, &sw, NULL, 100);
		}
		if(!SW4Active())
			sw4Help = false;

		// LED laten knipperen als visueel teken van het doorlopen van deze thread.
		ToggleLed(5);

		// Anti-dender wachttijd.
    osDelay(20);
  }
  /* USER CODE END Switches */
}

/* LedTimeOut function */
void LedTimeOut(void *argument)
{
  /* USER CODE BEGIN LedTimeOut */
	// Vlag zetten die aangeeft dat de LED mag toggle'n.
	osEventFlagsSet(statemachineEventsHandle, LED_TIMER_TICKED_FLAG);

	// LED laten knipperen als visueel teken van het ticken van de timer.
	ToggleLed(6);
  /* USER CODE END LedTimeOut */
}

/* GateMovingTimeOut function */
void GateMovingTimeOut(void *argument)
{
  /* USER CODE BEGIN GateMovingTimeOut */
	// Vlag zetten die aangeeft dat de poort moet stoppen met bewegen.
	osEventFlagsSet(statemachineEventsHandle, GATE_MOVING_TIMER_TICKED_FLAG);

	// LED laten knipperen als visueel teken van het ticken van de timer.
	ToggleLed(7);
  /* USER CODE END GateMovingTimeOut */
}

void HAL_TIM_PeriodElapsedCallback(TIM_HandleTypeDef *htim)
{
  if (htim->Instance == TIM6)
  {
    HAL_IncTick();
  }
}

void Error_Handler(void)
{
  __disable_irq();
  while (1)
  {
  }
}
#ifdef USE_FULL_ASSERT
/**
  * @brief  Reports the name of the source file and the source line number
  *         where the assert_param error has occurred.
  * @param  file: pointer to the source file name
  * @param  line: assert_param error line source number
  * @retval None
  */
void assert_failed(uint8_t *file, uint32_t line)
{
  /* USER CODE BEGIN 6 */
  /* User can add his own implementation to report the file name and line number,
     ex: printf("Wrong parameters value: file %s on line %d\r\n", file, line) */
// Versie: 20252026
  /* USER CODE END 6 */
}
#endif /* USE_FULL_ASSERT */
